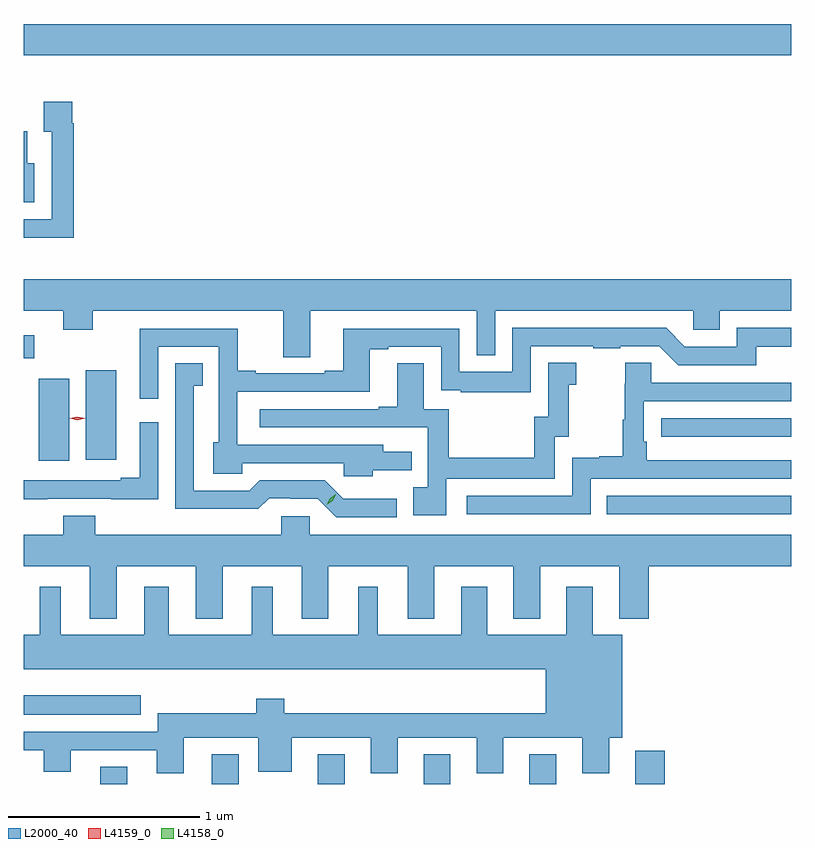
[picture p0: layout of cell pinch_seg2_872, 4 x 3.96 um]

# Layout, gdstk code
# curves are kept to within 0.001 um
import gdstk
lib = gdstk.Library(unit=1e-6, precision=1e-09)
def R(c, l, rs):  # rectangles x0, y0, x1, y1
    for r in rs: c.add(gdstk.rectangle(r[:2], r[2:], *l))
def A(c, l, x, y, w, h, nx, ny, dx, dy):  # array of equal rectangles
    R(c, l, [(x+i*dx, y+j*dy, x+i*dx+w, y+j*dy+h) for i in range(nx) for j in range(ny)])
def P(c, l, *ps):  # polygons
    for p in ps: c.add(gdstk.Polygon(p, *l))
L2000_40 = (2000, 40)
L4158_0 = (4158, 0)
L4159_0 = (4159, 0)

pinch_seg2_872 = lib.new_cell('pinch_seg2_872')
A(pinch_seg2_872, L2000_40, 382.235, 587.893, 0.14, 0.156, 4, 1, 0.552, 0)
R(pinch_seg2_872, L2000_40, [(381.653,587.893,381.793,587.984), (384.443,587.893,384.596,588.067), (381.255,588.254,381.865,588.355), (384.295,589.299,385.255,589.395), (381.332,589.578,381.49,590.005), (381.578,589.583,381.736,590.05), (384.579,589.704,385.255,589.8), (381.255,590.112,381.31,590.233), (381.255,591.692,385.255,591.856)])
P(pinch_seg2_872, L2000_40, [(381.515,591.338),(381.508,591.338),(381.508,591.451),(381.359,591.451),(381.359,591.295),(381.399,591.295),(381.399,590.838),(381.255,590.838),(381.255,590.741),(381.515,590.741)],
  [(381.31,591.13),(381.271,591.13),(381.271,591.298),(381.255,591.298),(381.255,590.927),(381.31,590.927)],
  [(381.255,590.36),(381.461,590.36),(381.461,590.261),(381.613,590.261),(381.613,590.36),(382.607,590.36),(382.607,590.119),(382.747,590.119),(382.747,590.36),(383.616,590.36),(383.616,590.128),(383.712,590.128),(383.712,590.36),(384.744,590.36),(384.744,590.262),(384.883,590.262),(384.883,590.36),(385.255,590.36),(385.255,590.524),(381.255,590.524)],
  [(383.074,589.53),(383.276,589.53),(383.276,589.626),(383.128,589.626),(383.128,589.662),(382.368,589.662),(382.368,589.938),(383.059,589.938),(383.059,590.16),(383.155,590.16),(383.155,590.172),(383.43,590.172),(383.43,589.947),(383.533,589.947),(383.533,589.935),(383.898,589.935),(383.898,590.175),(384.223,590.175),(384.223,590.166),(384.364,590.166),(384.364,590.175),(384.567,590.175),(384.666,590.076),(385.073,590.076),(385.073,590.174),(385.255,590.174),(385.255,590.271),(384.972,590.271),(384.972,590.172),(384.702,590.172),(384.603,590.271),(383.802,590.271),(383.802,590.043),(383.526,590.043),(383.526,590.268),(382.919,590.268),(382.919,590.047),(382.823,590.047),(382.823,590.034),(382.465,590.034),(382.465,590.047),(382.371,590.047),(382.371,590.268),(381.858,590.268),(381.858,589.902),(381.954,589.902),(381.954,590.172),(382.272,590.172),(382.271,589.676),(382.241,589.676),(382.241,589.51),(382.393,589.51),(382.393,589.566),(382.923,589.566),(382.923,589.497),(383.074,589.497)],
  [(383.457,589.485),(384.024,589.485),(384.024,589.703),(384.097,589.703),(384.097,589.976),(384.136,589.976),(384.136,590.09),(383.988,590.09),(383.988,589.807),(383.916,589.807),(383.916,589.594),(383.47,589.594),(383.47,589.848),(383.341,589.848),(383.341,590.087),(383.201,590.087),(383.201,589.861),(383.105,589.861),(383.105,589.848),(382.485,589.848),(382.485,589.752),(383.361,589.752),(383.361,589.441),(383.284,589.441),(383.284,589.295),(383.457,589.295)],
  [(384.21,589.485),(385.255,589.485),(385.255,589.581),(384.502,589.581),(384.502,589.678),(384.486,589.678),(384.486,589.89),(385.255,589.89),(385.255,589.986),(384.527,589.986),(384.527,590.09),(384.391,590.09),(384.391,589.979),(384.388,589.979),(384.388,589.793),(384.378,589.793),(384.378,589.601),(384.255,589.601),(384.255,589.594),(384.114,589.594),(384.114,589.395),(383.565,589.395),(383.565,589.299),(384.21,589.299)],
  [(383.199,589.38),(382.92,589.38),(382.824,589.476),(382.485,589.476),(382.431,589.422),(382.14,589.422),(382.141,589.969),(382.187,589.969),(382.187,590.087),(382.044,590.087),(382.044,589.328),(382.478,589.328),(382.533,589.383),(382.643,589.383),(382.643,589.38),(382.788,589.38),(382.884,589.284),(383.199,589.284)],
  [(381.377,589.38),(381.709,589.38),(381.709,589.379),(381.954,589.379),(381.954,589.78),(381.858,589.78),(381.858,589.489),(381.761,589.489),(381.761,589.476),(381.255,589.476),(381.255,589.379),(381.377,589.379)],
  [(381.739,589.028),(382.151,589.028),(382.151,588.755),(382.291,588.755),(382.291,589.028),(382.703,589.028),(382.703,588.755),(382.843,588.755),(382.843,589.028),(383.255,589.028),(383.255,588.755),(383.395,588.755),(383.395,589.028),(383.807,589.028),(383.807,588.755),(383.947,588.755),(383.947,589.028),(384.359,589.028),(384.359,588.755),(384.512,588.755),(384.512,589.028),(385.255,589.028),(385.255,589.192),(382.746,589.192),(382.746,589.29),(382.596,589.29),(382.596,589.192),(381.626,589.192),(381.626,589.291),(381.461,589.291),(381.461,589.192),(381.255,589.192),(381.255,589.028),(381.599,589.028),(381.599,588.755),(381.739,588.755)],
  [(382.087,588.134),(382.478,588.134),(382.478,587.957),(382.651,587.957),(382.651,588.134),(383.063,588.134),(383.063,587.949),(383.203,587.949),(383.203,588.134),(383.615,588.134),(383.615,587.949),(383.755,587.949),(383.755,588.134),(384.167,588.134),(384.167,587.949),(384.307,587.949),(384.307,588.134),(384.376,588.134),(384.376,588.67),(384.22,588.67),(384.22,588.922),(384.083,588.922),(384.083,588.67),(383.671,588.67),(383.671,588.922),(383.534,588.922),(383.534,588.67),(383.101,588.67),(383.101,588.922),(382.997,588.922),(382.997,588.67),(382.552,588.67),(382.552,588.922),(382.442,588.922),(382.442,588.67),(382.009,588.67),(382.009,588.922),(381.881,588.922),(381.881,588.67),(381.448,588.67),(381.448,588.922),(381.338,588.922),(381.338,588.67),(381.255,588.67),(381.255,588.491),(383.975,588.491),(383.975,588.262),(382.613,588.262),(382.613,588.337),(382.466,588.337),(382.466,588.262),(381.953,588.262),(381.953,588.165),(381.255,588.165),(381.255,588.069),(381.359,588.069),(381.359,587.957),(381.499,587.957),(381.499,588.069),(381.947,588.069),(381.947,587.949),(382.087,587.949)])
P(pinch_seg2_872, L4158_0, [(382.835,589.35),(382.835,589.35),(382.851,589.384),(382.882,589.404),(382.882,589.404),(382.882,589.404),(382.866,589.371),(382.835,589.35)])
P(pinch_seg2_872, L4159_0, [(381.534,589.789),(381.494,589.799),(381.494,589.799),(381.494,589.799),(381.534,589.809),(381.574,589.8),(381.575,589.8),(381.574,589.8)])

lib.write_gds('pinch_seg2_872.gds')
